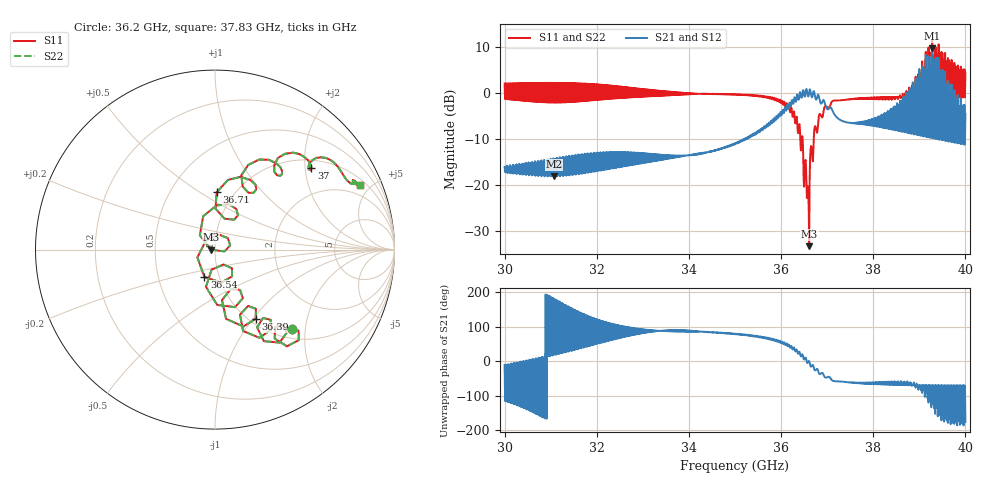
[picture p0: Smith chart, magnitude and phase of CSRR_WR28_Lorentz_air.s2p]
! TOUCHSTONE file generated by CST MICROWAVE STUDIO
! Date and time: Tue Jan 20 15:43:50 2026
! Project name: CSRR_WR28_Lorentz.cst
! Header version: 2018
! Port assignment regex: !\s*Touchstone port\s*([0-9]+)\s*=\s*(CST MWS port|CST DS port)\s*([0-9]+|Zmin|Zmax)\s*\(\"(.*)\"\)(\s*mode\s*([0-9]+))?.*
! Touchstone port assignment:
! Touchstone port 1 = CST MWS port 1 ("Port1")
! Touchstone port 2 = CST MWS port 2 ("Port2")
# GHz S MA R 50
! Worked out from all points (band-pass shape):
!   1001 points, 30 GHz to 40 GHz, reference 50 ohm
!   highest |S21| = 9.66 dB at 39.28 GHz (marker M1); lowest = -18.2 dB at 31.07 GHz (marker M2)
!   |S21| within 3 dB of the highest: 39.13913 GHz to 39.14086 GHz (1.723 MHz wide, 0.0044 % of centre); 39.19928 GHz to 39.20072 GHz (1.437 MHz wide, 0.00367 % of centre) (the widest 2 of 7)
!   lowest |S11| = -33.3 dB at 36.61 GHz (marker M3), VSWR 1.04, Z = 47.9 - j0.0655 ohm
!   |S11| at or under -10 dB: 36.41668 GHz to 36.45144 GHz (34.76 MHz wide, 0.0954 % of centre); 36.47 GHz to 36.71 GHz (242.2 MHz wide, 0.662 % of centre)
!   |S22| runs from -33.3 to 11.4 dB; largest |S21 - S12| = 3.7e-05
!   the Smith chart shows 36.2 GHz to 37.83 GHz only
!   S11 on the Smith chart (normalised r, x): 36.2 GHz: 1.19, -1.69; 36.39 GHz: 1.07, -1.03; 36.54 GHz: 0.85, -0.27; 36.71 GHz: 0.83, +0.59; 37 GHz: 1.19, +2.16; 37.83 GHz: 1.33, +4.33
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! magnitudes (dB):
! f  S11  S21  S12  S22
! 30 GHz  2.0  -16.1  -16.1  2.0
! 31.07 GHz  -2.1  -18.2  -18.2  -2.1
! 31.67 GHz  -1.8  -17.6  -17.6  -1.8
! 33.34 GHz  0.5  -13.4  -13.4  0.5
! 35 GHz  -0.4  -11.2  -11.2  -0.4
! 36.2 GHz  -4.2  -2.7  -2.7  -4.2
! 36.39 GHz  -7.0  -1.2  -1.2  -7.0
! 36.54 GHz  -15.7  0.6  0.6  -15.7
! 36.57 GHz  -21.3  -0.2  -0.2  -21.3
! 36.61 GHz  -33.3  0.2  0.2  -33.3
! 36.67 GHz  -12.7  -1.0  -1.0  -12.7
! 36.71 GHz  -9.9  0.4  0.4  -9.9
! 37 GHz  -3.0  -3.5  -3.5  -3.0
! 37.83 GHz  -1.1  -6.9  -6.9  -1.1
! 38.34 GHz  -1.5  -4.2  -4.2  -1.5
! 38.86 GHz  2.2  2.3  2.3  2.2
! 39.14 GHz  8.9  8.2  8.2  8.9
! 39.17 GHz  -0.8  -9.6  -9.6  -0.8
! 39.28 GHz  11.4  9.7  9.7  11.4
! 39.31 GHz  -0.8  -9.9  -9.9  -0.8
! 39.7 GHz  7.1  1.8  1.8  7.1
! 40 GHz  4.4  -4.6  -4.6  4.4
